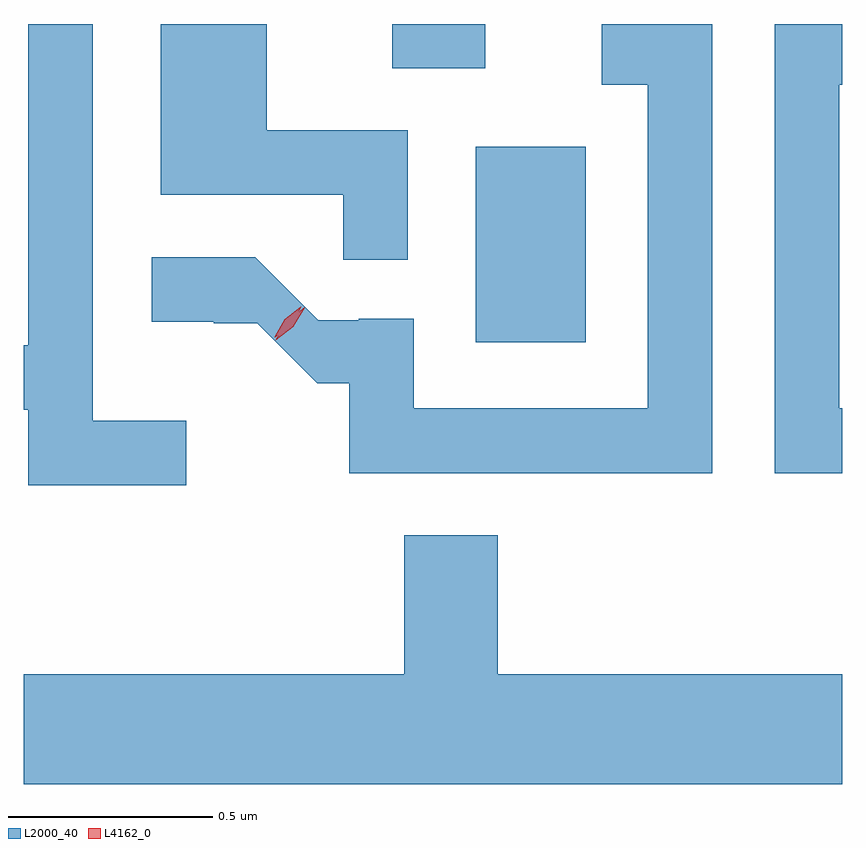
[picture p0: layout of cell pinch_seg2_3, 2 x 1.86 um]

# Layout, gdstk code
import gdstk
lib = gdstk.Library(unit=1e-6, precision=1e-09)
def R(c, l, rs):  # rectangles x0, y0, x1, y1
    for r in rs: c.add(gdstk.rectangle(r[:2], r[2:], *l))
def P(c, l, *ps):  # polygons
    for p in ps: c.add(gdstk.Polygon(p, *l))
L2000_40 = (2000, 40)
L4162_0 = (4162, 0)

pinch_seg2_3 = lib.new_cell('pinch_seg2_3')
R(pinch_seg2_3, L2000_40, [(1730.816,1093.796,1731.084,1094.274), (1730.611,1094.466,1730.839,1094.574)])
P(pinch_seg2_3, L2000_40, [(1731.394,1094.574),(1731.123,1094.574),(1731.123,1094.426),(1731.236,1094.426),(1731.236,1093.634),(1730.664,1093.634),(1730.664,1093.854),(1730.529,1093.854),(1730.529,1093.85),(1730.431,1093.85),(1730.277,1094.004),(1730.023,1094.004),(1730.023,1093.846),(1730.175,1093.846),(1730.175,1093.843),(1730.281,1093.843),(1730.428,1093.696),(1730.506,1093.696),(1730.506,1093.476),(1731.394,1093.476)],
  [(1730.649,1094.314),(1730.304,1094.314),(1730.304,1094.574),(1730.046,1094.574),(1730.046,1094.156),(1730.491,1094.156),(1730.491,1093.998),(1730.649,1093.998)],
  [(1731.711,1093.634),(1731.704,1093.634),(1731.704,1094.426),(1731.711,1094.426),(1731.711,1094.574),(1731.546,1094.574),(1731.546,1093.476),(1731.711,1093.476)],
  [(1730.108,1093.604),(1729.879,1093.604),(1729.879,1094.574),(1729.721,1094.574),(1729.721,1093.789),(1729.711,1093.789),(1729.711,1093.631),(1729.721,1093.631),(1729.721,1093.446),(1730.108,1093.446)],
  [(1731.711,1092.984),(1730.869,1092.984),(1730.869,1093.324),(1730.641,1093.324),(1730.641,1092.984),(1729.711,1092.984),(1729.711,1092.716),(1731.711,1092.716)])
P(pinch_seg2_3, L4162_0, [(1730.326,1093.801),(1730.326,1093.802),(1730.355,1093.848),(1730.398,1093.881),(1730.398,1093.881),(1730.398,1093.88),(1730.369,1093.834),(1730.326,1093.801)],
  [(1730.324,1093.808),(1730.324,1093.809),(1730.349,1093.852),(1730.388,1093.883),(1730.389,1093.883),(1730.389,1093.883),(1730.364,1093.839),(1730.325,1093.808)])

lib.write_gds('pinch_seg2_3.gds')
